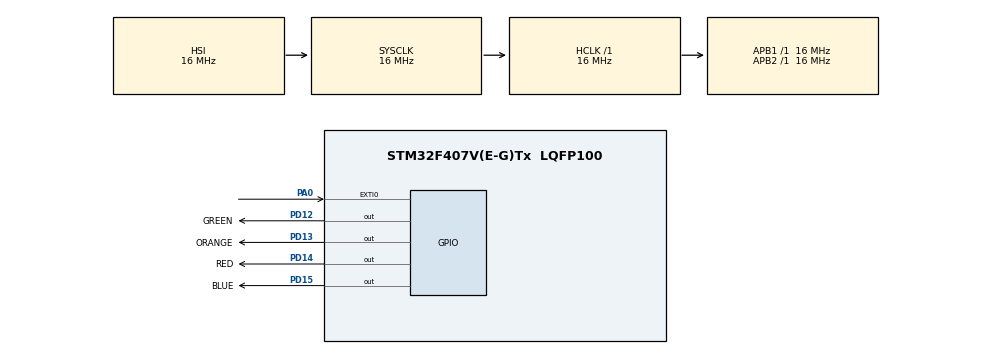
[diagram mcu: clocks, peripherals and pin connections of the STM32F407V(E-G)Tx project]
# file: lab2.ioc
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Mcu.Family=STM32F4
Mcu.Name=STM32F407V(E-G)Tx
Mcu.Package=LQFP100
NVIC.EXTI0_IRQn=true\:0\:0\:false\:false\:true\:true\:true\:true
NVIC.PriorityGroup=NVIC_PRIORITYGROUP_4
PA0-WKUP.Signal=GPXTI0
PD12.GPIO_Label=GREEN
PD12.Signal=GPIO_Output
PD13.GPIO_Label=ORANGE
PD13.Signal=GPIO_Output
PD14.GPIO_Label=RED
PD14.Signal=GPIO_Output
PD15.GPIO_Label=BLUE
PD15.Signal=GPIO_Output
ProjectManager.HeapSize=0x200
ProjectManager.StackSize=0x400
ProjectManager.TargetToolchain=STM32CubeIDE
RCC.AHBFreq_Value=16000000
RCC.APB1Freq_Value=16000000
RCC.APB2Freq_Value=16000000
RCC.CortexFreq_Value=16000000
RCC.HSE_VALUE=25000000
RCC.HSI_VALUE=16000000
RCC.LSE_VALUE=32768
RCC.SYSCLKFreq_VALUE=16000000
RCC.VCOOutputFreq_Value=192000000
board=custom

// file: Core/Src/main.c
/* USER CODE BEGIN Header */
/**
  ******************************************************************************
  * @file           : main.c
  * @brief          : Main program body
  ******************************************************************************
  * @attention
  *
  * Copyright (c) 2026 STMicroelectronics.
  * All rights reserved.
  *
  ******************************************************************************
  */
/* USER CODE END Header */

#include "main.h"

/* USER CODE BEGIN PTD */

typedef enum
{
    ALGO_BLINK_ALL = 0,
    ALGO_SEQUENTIAL,
    ALGO_REVERSE,
    ALGO_PAIRS,
    ALGO_COUNT
} AlgorithmType;

/* USER CODE END PTD */

/* USER CODE BEGIN PD */

#define LED_ALL (GREEN_Pin | ORANGE_Pin | RED_Pin | BLUE_Pin)

#define BUTTON_DEBOUNCE 200
#define AUTO_SWITCH_INTERVAL 3000
#define SEQUENCE_INTERVAL 500

/* USER CODE END PD */

/* USER CODE BEGIN PV */

static volatile AlgorithmType current_algorithm = ALGO_BLINK_ALL;

static uint8_t sequence_step = 0;

static uint32_t last_button_time = 0;
static uint32_t last_auto_switch_time = 0;
static uint32_t last_sequence_time = 0;

static volatile uint8_t button_pressed = 0;

static uint8_t use_auto_switch = 1;

/* USER CODE END PV */

void SystemClock_Config(void);
static void MX_GPIO_Init(void);

/* USER CODE BEGIN PFP */

static void ProcessLEDs(void);
static void SwitchAlgorithm(void);
static void AutoSwitchCheck(void);
static void SetAllLEDs(GPIO_PinState state);

/* USER CODE END PFP */

/* USER CODE BEGIN 0 */

static void SetAllLEDs(GPIO_PinState state)
{
    HAL_GPIO_WritePin(GPIOD, LED_ALL, state);
}

static void SwitchAlgorithm(void)
{
    current_algorithm++;

    if (current_algorithm >= ALGO_COUNT)
    {
        current_algorithm = ALGO_BLINK_ALL;
    }

    sequence_step = 0;

    last_sequence_time = HAL_GetTick();

    SetAllLEDs(GPIO_PIN_RESET);
}

static void AutoSwitchCheck(void)
{
    uint32_t current_time = HAL_GetTick();

    if (use_auto_switch &&
        (current_time - last_auto_switch_time >= AUTO_SWITCH_INTERVAL))
    {
        SwitchAlgorithm();

        last_auto_switch_time = current_time;
    }
}

static void ProcessLEDs(void)
{
    uint32_t current_time = HAL_GetTick();

    switch (current_algorithm)
    {
        /* Усі світлодіоди блимають одночасно */
        case ALGO_BLINK_ALL:

            if ((current_time % 1000) < 500)
            {
                SetAllLEDs(GPIO_PIN_SET);
            }
            else
            {
                SetAllLEDs(GPIO_PIN_RESET);
            }

            break;

        /* Послідовне ввімкнення зліва направо */
        case ALGO_SEQUENTIAL:

            if (current_time - last_sequence_time >= SEQUENCE_INTERVAL)
            {
                last_sequence_time = current_time;

                SetAllLEDs(GPIO_PIN_RESET);

                switch (sequence_step)
                {
                    case 0:
                        HAL_GPIO_WritePin(GPIOD, GREEN_Pin, GPIO_PIN_SET);
                        break;

                    case 1:
                        HAL_GPIO_WritePin(GPIOD, ORANGE_Pin, GPIO_PIN_SET);
                        break;

                    case 2:
                        HAL_GPIO_WritePin(GPIOD, RED_Pin, GPIO_PIN_SET);
                        break;

                    case 3:
                        HAL_GPIO_WritePin(GPIOD, BLUE_Pin, GPIO_PIN_SET);
                        break;
                }

                sequence_step = (sequence_step + 1) % 4;
            }

            break;

        /* Послідовне ввімкнення справа наліво */
        case ALGO_REVERSE:

            if (current_time - last_sequence_time >= SEQUENCE_INTERVAL)
            {
                last_sequence_time = current_time;

                SetAllLEDs(GPIO_PIN_RESET);

                switch (sequence_step)
                {
                    case 0:
                        HAL_GPIO_WritePin(GPIOD, BLUE_Pin, GPIO_PIN_SET);
                        break;

                    case 1:
                        HAL_GPIO_WritePin(GPIOD, RED_Pin, GPIO_PIN_SET);
                        break;

                    case 2:
                        HAL_GPIO_WritePin(GPIOD, ORANGE_Pin, GPIO_PIN_SET);
                        break;

                    case 3:
                        HAL_GPIO_WritePin(GPIOD, GREEN_Pin, GPIO_PIN_SET);
                        break;
                }

                sequence_step = (sequence_step + 1) % 4;
            }

            break;

        /* Почергове ввімкнення пар світлодіодів */
        case ALGO_PAIRS:

            if ((current_time % 1000) < 300)
            {
                SetAllLEDs(GPIO_PIN_RESET);

                HAL_GPIO_WritePin(GPIOD,
                    GREEN_Pin | ORANGE_Pin,
                    GPIO_PIN_SET);
            }
            else if ((current_time % 1000) < 600)
            {
                SetAllLEDs(GPIO_PIN_RESET);

                HAL_GPIO_WritePin(GPIOD,
                    RED_Pin | BLUE_Pin,
                    GPIO_PIN_SET);
            }
            else
            {
                SetAllLEDs(GPIO_PIN_RESET);
            }

            break;

        default:

            SetAllLEDs(GPIO_PIN_RESET);

            break;
    }
}

/* USER CODE END 0 */

int main(void)
{

    /* MCU Configuration------------------------------------------------------*/

    HAL_Init();

    /* Configure the system clock */

    SystemClock_Config();

    /* Initialize all configured peripherals */

    MX_GPIO_Init();

    /* USER CODE BEGIN 2 */

    last_auto_switch_time = HAL_GetTick();
    last_sequence_time = HAL_GetTick();

    SetAllLEDs(GPIO_PIN_RESET);

    /* USER CODE END 2 */

    /* Infinite loop */

    while (1)
    {

        /* USER CODE BEGIN 3 */

        /* Обробка натискання кнопки */

        if (button_pressed)
        {
            button_pressed = 0;

            uint32_t current_time = HAL_GetTick();

            if (current_time - last_button_time >= BUTTON_DEBOUNCE)
            {
                SwitchAlgorithm();

                last_button_time = current_time;
                last_auto_switch_time = current_time;
            }
        }

        /* Автоматичне перемикання алгоритмів */

        AutoSwitchCheck();

        /* Виконання поточного алгоритму */

        ProcessLEDs();

    }

    /* USER CODE END 3 */
}

void SystemClock_Config(void)
{
    RCC_OscInitTypeDef RCC_OscInitStruct = {0};
    RCC_ClkInitTypeDef RCC_ClkInitStruct = {0};

    __HAL_RCC_PWR_CLK_ENABLE();

    __HAL_PWR_VOLTAGESCALING_CONFIG(PWR_REGULATOR_VOLTAGE_SCALE1);

    RCC_OscInitStruct.OscillatorType = RCC_OSCILLATORTYPE_HSI;
    RCC_OscInitStruct.HSIState = RCC_HSI_ON;
    RCC_OscInitStruct.HSICalibrationValue = RCC_HSICALIBRATION_DEFAULT;
    RCC_OscInitStruct.PLL.PLLState = RCC_PLL_NONE;

    if (HAL_RCC_OscConfig(&RCC_OscInitStruct) != HAL_OK)
    {
        Error_Handler();
    }

    RCC_ClkInitStruct.ClockType = RCC_CLOCKTYPE_HCLK |
                                  RCC_CLOCKTYPE_SYSCLK |
                                  RCC_CLOCKTYPE_PCLK1 |
                                  RCC_CLOCKTYPE_PCLK2;

    RCC_ClkInitStruct.SYSCLKSource = RCC_SYSCLKSOURCE_HSI;
    RCC_ClkInitStruct.AHBCLKDivider = RCC_SYSCLK_DIV1;
    RCC_ClkInitStruct.APB1CLKDivider = RCC_HCLK_DIV1;
    RCC_ClkInitStruct.APB2CLKDivider = RCC_HCLK_DIV1;

    if (HAL_RCC_ClockConfig(&RCC_ClkInitStruct, FLASH_LATENCY_0) != HAL_OK)
    {
        Error_Handler();
    }
}

static void MX_GPIO_Init(void)
{
    GPIO_InitTypeDef GPIO_InitStruct = {0};

    /* GPIO Ports Clock Enable */

    __HAL_RCC_GPIOA_CLK_ENABLE();
    __HAL_RCC_GPIOD_CLK_ENABLE();

    /* Початковий стан світлодіодів */

    HAL_GPIO_WritePin(GPIOD, LED_ALL, GPIO_PIN_RESET);

    /* Налаштування кнопки PA0 */

    GPIO_InitStruct.Pin = GPIO_PIN_0;
    GPIO_InitStruct.Mode = GPIO_MODE_IT_RISING;
    GPIO_InitStruct.Pull = GPIO_NOPULL;

    HAL_GPIO_Init(GPIOA, &GPIO_InitStruct);

    /* Налаштування світлодіодів PD12-PD15 */

    GPIO_InitStruct.Pin = LED_ALL;
    GPIO_InitStruct.Mode = GPIO_MODE_OUTPUT_PP;
    GPIO_InitStruct.Pull = GPIO_NOPULL;
    GPIO_InitStruct.Speed = GPIO_SPEED_FREQ_LOW;

    HAL_GPIO_Init(GPIOD, &GPIO_InitStruct);

    /* EXTI interrupt initialization */

    HAL_NVIC_SetPriority(EXTI0_IRQn, 0, 0);
    HAL_NVIC_EnableIRQ(EXTI0_IRQn);

}

/* USER CODE BEGIN 4 */

/* Обробник переривання кнопки */

void HAL_GPIO_EXTI_Callback(uint16_t GPIO_Pin)
{
    if (GPIO_Pin == GPIO_PIN_0)
    {
        button_pressed = 1;
    }
}

/* USER CODE END 4 */

void Error_Handler(void)
{
    __disable_irq();
    while (1)
    {
    }
}
